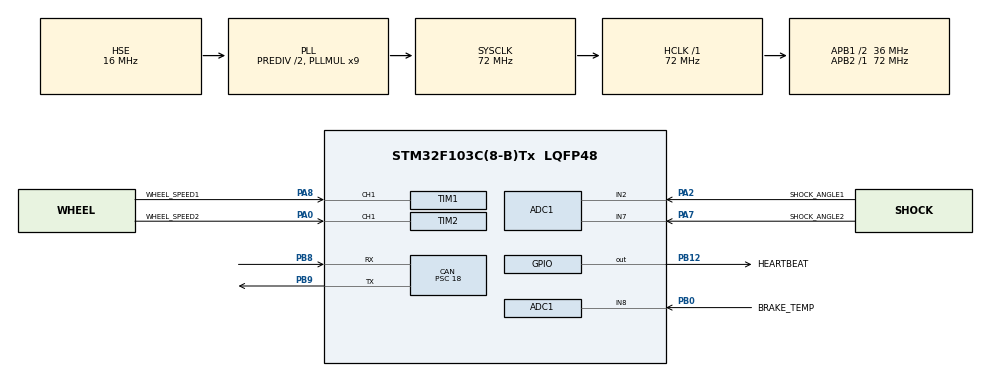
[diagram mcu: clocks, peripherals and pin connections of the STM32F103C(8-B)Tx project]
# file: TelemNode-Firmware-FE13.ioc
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ADC1.Channel-7\#ChannelRegularConversion=ADC_CHANNEL_2
ADC1.ContinuousConvMode=DISABLE
ADC1.EnableRegularConversion=ENABLE
ADC1.NbrOfConversionFlag=1
ADC1.Rank-7\#ChannelRegularConversion=1
ADC1.SamplingTime-7\#ChannelRegularConversion=ADC_SAMPLETIME_41CYCLES_5
ADC1.master=1
CAN.BS1=CAN_BS1_2TQ
CAN.CalculateBaudRate=500000
CAN.CalculateTimeBit=2000
CAN.CalculateTimeQuantum=500.0
CAN.Mode=CAN_MODE_NORMAL
CAN.NART=ENABLE
CAN.Prescaler=18
Dma.ADC1.0.Direction=DMA_PERIPH_TO_MEMORY
Dma.ADC1.0.Instance=DMA1_Channel1
Dma.ADC1.0.MemDataAlignment=DMA_MDATAALIGN_HALFWORD
Dma.ADC1.0.MemInc=DMA_MINC_ENABLE
Dma.ADC1.0.Mode=DMA_CIRCULAR
Dma.ADC1.0.PeriphDataAlignment=DMA_PDATAALIGN_HALFWORD
Dma.ADC1.0.PeriphInc=DMA_PINC_DISABLE
Dma.ADC1.0.Priority=DMA_PRIORITY_LOW
Dma.Request0=ADC1
Mcu.Family=STM32F1
Mcu.Name=STM32F103C(8-B)Tx
Mcu.Package=LQFP48
NVIC.ADC1_2_IRQn=true\:0\:0\:false\:false\:true\:true\:true\:true
NVIC.CAN1_RX1_IRQn=true\:0\:0\:false\:false\:true\:true\:true\:true
NVIC.DMA1_Channel1_IRQn=true\:0\:0\:false\:false\:true\:false\:true\:true
NVIC.PriorityGroup=NVIC_PRIORITYGROUP_4
NVIC.TIM2_IRQn=true\:0\:0\:false\:false\:true\:true\:true\:true
NVIC.USB_HP_CAN1_TX_IRQn=true\:0\:0\:false\:false\:true\:true\:true\:true
NVIC.USB_LP_CAN1_RX0_IRQn=true\:0\:0\:false\:false\:true\:true\:true\:true
PA0-WKUP.GPIO_Label=WHEEL_SPEED2
PA0-WKUP.Signal=S_TIM2_CH1_ETR
PA13.Mode=Serial_Wire
PA13.Signal=SYS_JTMS-SWDIO
PA14.Mode=Serial_Wire
PA14.Signal=SYS_JTCK-SWCLK
PA15.Signal=SYS_JTDI
PA2.GPIO_Label=SHOCK_ANGLE1
PA2.Signal=ADCx_IN2
PA7.GPIO_Label=SHOCK_ANGLE2
PA7.Signal=ADCx_IN7
PA8.GPIO_Label=WHEEL_SPEED1
PA8.Signal=S_TIM1_CH1
PB0.GPIO_Label=BRAKE_TEMP
PB0.Signal=ADCx_IN8
PB12.GPIO_Label=HEARTBEAT
PB12.Signal=GPIO_Output
PB3.Signal=SYS_JTDO-TRACESWO
PB8.GPIO_PuPd=GPIO_PULLUP
PB8.Mode=CAN_Activate
PB8.Signal=CAN_RX
PB9.Mode=CAN_Activate
PB9.Signal=CAN_TX
PD0-OSC_IN.Mode=HSE-External-Oscillator
PD0-OSC_IN.Signal=RCC_OSC_IN
PD1-OSC_OUT.Mode=HSE-External-Oscillator
PD1-OSC_OUT.Signal=RCC_OSC_OUT
ProjectManager.HeapSize=0x200
ProjectManager.StackSize=0x400
ProjectManager.TargetToolchain=STM32CubeIDE
RCC.ADCPresc=RCC_ADCPCLK2_DIV8
RCC.AHBFreq_Value=72000000
RCC.APB1CLKDivider=RCC_HCLK_DIV2
RCC.APB1Freq_Value=36000000
RCC.APB1TimFreq_Value=72000000
RCC.APB2Freq_Value=72000000
RCC.APB2TimFreq_Value=72000000
RCC.HCLKFreq_Value=72000000
RCC.HSEDivPLL=RCC_HSE_PREDIV_DIV2
RCC.HSE_VALUE=16000000
RCC.PLLMUL=RCC_PLL_MUL9
RCC.PLLSourceVirtual=RCC_PLLSOURCE_HSE
RCC.SYSCLKFreq_VALUE=72000000
RCC.SYSCLKSource=RCC_SYSCLKSOURCE_PLLCLK
RCC.USBFreq_Value=72000000
SH.ADCx_IN2.0=ADC1_IN2,IN2
SH.ADCx_IN7.0=ADC1_IN7,IN7
SH.ADCx_IN8.0=ADC1_IN8,IN8
SH.S_TIM1_CH1.0=TIM1_CH1,TriggerSource_TI1FP1
SH.S_TIM2_CH1_ETR.0=TIM2_CH1,TriggerSource_TI1FP1
TIM2.Prescaler=0
TIM3.Period=999
TIM3.Prescaler=71
VP_TIM1_VS_ControllerModeClock.Mode=Clock Mode
VP_TIM2_VS_ControllerModeClock.Mode=Clock Mode
VP_TIM3_VS_ClockSourceINT.Mode=Internal
board=custom

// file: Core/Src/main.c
/* USER CODE BEGIN Header */
/**
  ******************************************************************************
  * @file           : main.c
  * @brief          : Main program body
  ******************************************************************************
  * @attention
  *
  * Copyright (c) 2024 STMicroelectronics.
  * All rights reserved.
  *
  * This software is licensed under terms that can be found in the LICENSE file
  * in the root directory of this software component.
  * If no LICENSE file comes with this software, it is provided AS-IS.
  *
  ******************************************************************************
  */
/* USER CODE END Header */
#include "main.h"

/* USER CODE BEGIN Includes */

#include "telem_node.h"
#include "can_manager.h"
/* USER CODE END Includes */

ADC_HandleTypeDef hadc1;
DMA_HandleTypeDef hdma_adc1;

CAN_HandleTypeDef hcan;

TIM_HandleTypeDef htim1;
TIM_HandleTypeDef htim2;
TIM_HandleTypeDef htim3;

void SystemClock_Config(void);
static void MX_GPIO_Init(void);
static void MX_DMA_Init(void);
static void MX_CAN_Init(void);
static void MX_TIM1_Init(void);
static void MX_ADC1_Init(void);
static void MX_TIM2_Init(void);
static void MX_TIM3_Init(void);

/* USER CODE BEGIN 0 */
//initialize buffer
uint16_t ADC_RES_BUFFER[3];
/* ADC_RES_BUFFER[0] = SHOCK_ANGLE1
 * ADC_RES_BUFFER[1] = SHOCK_ANGLE2
 * ADC_RES_BUFFER[2] = BRAKE_TEMP
 * */

/* USER CODE END 0 */

int main(void)
{

  /* MCU Configuration--------------------------------------------------------*/

  /* Reset of all peripherals, Initializes the Flash interface and the Systick. */
  HAL_Init();

  /* Configure the system clock */
  SystemClock_Config();

  /* Initialize all configured peripherals */
  MX_GPIO_Init();
  MX_DMA_Init();
  MX_CAN_Init();
  MX_TIM1_Init();
  MX_ADC1_Init();
  MX_TIM2_Init();
  MX_TIM3_Init();
  /* USER CODE BEGIN 2 */

  HAL_TIM_Base_Start(&htim1); // TIM1 used for WHEEL_SPEED1
  HAL_TIM_Base_Start(&htim2); // TIM2 used for WHEEL_SPEED2
  HAL_TIM_OC_Start_IT(&htim3, TIM_CHANNEL_1); // TIM2 CH3 used for sensor timing

  TelemNode_Init();

  /* USER CODE END 2 */

  /* Infinite loop */
  /* USER CODE BEGIN WHILE */
  while (1)
  {
	  // update the ADC readings
	  for (int i = 0; i < NUM_ADC_CHANNELS; i++) {

		  if (adc_channels[i].flag == 1) {
			  // prepare new conversion settings
			  ADC_ChannelConfTypeDef sConfig = {0};
			  sConfig.Channel = adc_channels[i].channel_number;
			  sConfig.Rank = 1; // always Rank 1 since Scan Mode is Disabled
			  sConfig.SamplingTime = ADC_SAMPLETIME_55CYCLES_5;
			  HAL_ADC_ConfigChannel(&hadc1, &sConfig);

              //cycle the ADC State Machine to apply settings
              HAL_ADC_Start(&hadc1);

              // block for ~5 microseconds until conversion finishes
              if (HAL_ADC_PollForConversion(&hadc1, 10) == HAL_OK) {
                  adc_channels[i].adc_value = HAL_ADC_GetValue(&hadc1); // save the fresh data
              }

              HAL_ADC_Stop(&hadc1); // turn off state machine until next flag hits
		  }

	  }

	  // send sensor readings over CAN
	  TelemNode_Update();

	  HAL_GPIO_TogglePin(HEARTBEAT_GPIO_Port, HEARTBEAT_Pin);
    /* USER CODE END WHILE */

  }
}

void SystemClock_Config(void)
{
  RCC_OscInitTypeDef RCC_OscInitStruct = {0};
  RCC_ClkInitTypeDef RCC_ClkInitStruct = {0};
  RCC_PeriphCLKInitTypeDef PeriphClkInit = {0};

  /** Initializes the RCC Oscillators according to the specified parameters
  * in the RCC_OscInitTypeDef structure.
  */
  RCC_OscInitStruct.OscillatorType = RCC_OSCILLATORTYPE_HSE;
  RCC_OscInitStruct.HSEState = RCC_HSE_ON;
  RCC_OscInitStruct.HSEPredivValue = RCC_HSE_PREDIV_DIV2;
  RCC_OscInitStruct.HSIState = RCC_HSI_ON;
  RCC_OscInitStruct.PLL.PLLState = RCC_PLL_ON;
  RCC_OscInitStruct.PLL.PLLSource = RCC_PLLSOURCE_HSE;
  RCC_OscInitStruct.PLL.PLLMUL = RCC_PLL_MUL9;
  if (HAL_RCC_OscConfig(&RCC_OscInitStruct) != HAL_OK)
  {
    Error_Handler();
  }

  /** Initializes the CPU, AHB and APB buses clocks
  */
  RCC_ClkInitStruct.ClockType = RCC_CLOCKTYPE_HCLK|RCC_CLOCKTYPE_SYSCLK
                              |RCC_CLOCKTYPE_PCLK1|RCC_CLOCKTYPE_PCLK2;
  RCC_ClkInitStruct.SYSCLKSource = RCC_SYSCLKSOURCE_PLLCLK;
  RCC_ClkInitStruct.AHBCLKDivider = RCC_SYSCLK_DIV1;
  RCC_ClkInitStruct.APB1CLKDivider = RCC_HCLK_DIV2;
  RCC_ClkInitStruct.APB2CLKDivider = RCC_HCLK_DIV1;

  if (HAL_RCC_ClockConfig(&RCC_ClkInitStruct, FLASH_LATENCY_2) != HAL_OK)
  {
    Error_Handler();
  }
  PeriphClkInit.PeriphClockSelection = RCC_PERIPHCLK_ADC;
  PeriphClkInit.AdcClockSelection = RCC_ADCPCLK2_DIV8;
  if (HAL_RCCEx_PeriphCLKConfig(&PeriphClkInit) != HAL_OK)
  {
    Error_Handler();
  }
}

static void MX_ADC1_Init(void)
{

  ADC_ChannelConfTypeDef sConfig = {0};

  /** Common config
  */
  hadc1.Instance = ADC1;
  hadc1.Init.ScanConvMode = ADC_SCAN_ENABLE;
  hadc1.Init.ContinuousConvMode = ENABLE;
  hadc1.Init.DiscontinuousConvMode = DISABLE;
  hadc1.Init.ExternalTrigConv = ADC_SOFTWARE_START;
  hadc1.Init.DataAlign = ADC_DATAALIGN_RIGHT;
  hadc1.Init.NbrOfConversion = 3;
  if (HAL_ADC_Init(&hadc1) != HAL_OK)
  {
    Error_Handler();
  }

  /** Configure Regular Channel
  */
  sConfig.Channel = ADC_CHANNEL_2;
  sConfig.Rank = ADC_REGULAR_RANK_1;
  sConfig.SamplingTime = ADC_SAMPLETIME_28CYCLES_5;
  if (HAL_ADC_ConfigChannel(&hadc1, &sConfig) != HAL_OK)
  {
    Error_Handler();
  }

  /** Configure Regular Channel
  */
  sConfig.Channel = ADC_CHANNEL_7;
  sConfig.Rank = ADC_REGULAR_RANK_2;
  if (HAL_ADC_ConfigChannel(&hadc1, &sConfig) != HAL_OK)
  {
    Error_Handler();
  }

  /** Configure Regular Channel
  */
  sConfig.Channel = ADC_CHANNEL_8;
  sConfig.Rank = ADC_REGULAR_RANK_3;
  if (HAL_ADC_ConfigChannel(&hadc1, &sConfig) != HAL_OK)
  {
    Error_Handler();
  }

}

static void MX_CAN_Init(void)
{

  hcan.Instance = CAN1;
  hcan.Init.Prescaler = 18;
  hcan.Init.Mode = CAN_MODE_NORMAL;
  hcan.Init.SyncJumpWidth = CAN_SJW_1TQ;
  hcan.Init.TimeSeg1 = CAN_BS1_2TQ;
  hcan.Init.TimeSeg2 = CAN_BS2_1TQ;
  hcan.Init.TimeTriggeredMode = DISABLE;
  hcan.Init.AutoBusOff = DISABLE;
  hcan.Init.AutoWakeUp = DISABLE;
  hcan.Init.AutoRetransmission = ENABLE;
  hcan.Init.ReceiveFifoLocked = DISABLE;
  hcan.Init.TransmitFifoPriority = DISABLE;
  if (HAL_CAN_Init(&hcan) != HAL_OK)
  {
    Error_Handler();
  }

}

static void MX_TIM1_Init(void)
{

  TIM_SlaveConfigTypeDef sSlaveConfig = {0};
  TIM_MasterConfigTypeDef sMasterConfig = {0};

  htim1.Instance = TIM1;
  htim1.Init.Prescaler = 0;
  htim1.Init.CounterMode = TIM_COUNTERMODE_UP;
  htim1.Init.Period = 65535;
  htim1.Init.ClockDivision = TIM_CLOCKDIVISION_DIV1;
  htim1.Init.RepetitionCounter = 0;
  htim1.Init.AutoReloadPreload = TIM_AUTORELOAD_PRELOAD_DISABLE;
  if (HAL_TIM_Base_Init(&htim1) != HAL_OK)
  {
    Error_Handler();
  }
  sSlaveConfig.SlaveMode = TIM_SLAVEMODE_EXTERNAL1;
  sSlaveConfig.InputTrigger = TIM_TS_TI1FP1;
  sSlaveConfig.TriggerPolarity = TIM_TRIGGERPOLARITY_RISING;
  sSlaveConfig.TriggerFilter = 0;
  if (HAL_TIM_SlaveConfigSynchro(&htim1, &sSlaveConfig) != HAL_OK)
  {
    Error_Handler();
  }
  sMasterConfig.MasterOutputTrigger = TIM_TRGO_RESET;
  sMasterConfig.MasterSlaveMode = TIM_MASTERSLAVEMODE_DISABLE;
  if (HAL_TIMEx_MasterConfigSynchronization(&htim1, &sMasterConfig) != HAL_OK)
  {
    Error_Handler();
  }

}

static void MX_TIM2_Init(void)
{

  TIM_SlaveConfigTypeDef sSlaveConfig = {0};
  TIM_MasterConfigTypeDef sMasterConfig = {0};

  htim2.Instance = TIM2;
  htim2.Init.Prescaler = 0;
  htim2.Init.CounterMode = TIM_COUNTERMODE_UP;
  htim2.Init.Period = 65535;
  htim2.Init.ClockDivision = TIM_CLOCKDIVISION_DIV1;
  htim2.Init.AutoReloadPreload = TIM_AUTORELOAD_PRELOAD_DISABLE;
  if (HAL_TIM_Base_Init(&htim2) != HAL_OK)
  {
    Error_Handler();
  }
  sSlaveConfig.SlaveMode = TIM_SLAVEMODE_EXTERNAL1;
  sSlaveConfig.InputTrigger = TIM_TS_TI1FP1;
  sSlaveConfig.TriggerPolarity = TIM_TRIGGERPOLARITY_RISING;
  sSlaveConfig.TriggerFilter = 0;
  if (HAL_TIM_SlaveConfigSynchro(&htim2, &sSlaveConfig) != HAL_OK)
  {
    Error_Handler();
  }
  sMasterConfig.MasterOutputTrigger = TIM_TRGO_RESET;
  sMasterConfig.MasterSlaveMode = TIM_MASTERSLAVEMODE_DISABLE;
  if (HAL_TIMEx_MasterConfigSynchronization(&htim2, &sMasterConfig) != HAL_OK)
  {
    Error_Handler();
  }

}

static void MX_TIM3_Init(void)
{

  TIM_ClockConfigTypeDef sClockSourceConfig = {0};
  TIM_MasterConfigTypeDef sMasterConfig = {0};
  TIM_OC_InitTypeDef sConfigOC = {0};

  htim3.Instance = TIM3;
  htim3.Init.Prescaler = 7199;
  htim3.Init.CounterMode = TIM_COUNTERMODE_UP;
  htim3.Init.Period = 65535;
  htim3.Init.ClockDivision = TIM_CLOCKDIVISION_DIV1;
  htim3.Init.AutoReloadPreload = TIM_AUTORELOAD_PRELOAD_DISABLE;
  if (HAL_TIM_Base_Init(&htim3) != HAL_OK)
  {
    Error_Handler();
  }
  sClockSourceConfig.ClockSource = TIM_CLOCKSOURCE_INTERNAL;
  if (HAL_TIM_ConfigClockSource(&htim3, &sClockSourceConfig) != HAL_OK)
  {
    Error_Handler();
  }
  if (HAL_TIM_OC_Init(&htim3) != HAL_OK)
  {
    Error_Handler();
  }
  sMasterConfig.MasterOutputTrigger = TIM_TRGO_RESET;
  sMasterConfig.MasterSlaveMode = TIM_MASTERSLAVEMODE_DISABLE;
  if (HAL_TIMEx_MasterConfigSynchronization(&htim3, &sMasterConfig) != HAL_OK)
  {
    Error_Handler();
  }
  sConfigOC.OCMode = TIM_OCMODE_TIMING;
  sConfigOC.Pulse = 2000;
  sConfigOC.OCPolarity = TIM_OCPOLARITY_HIGH;
  sConfigOC.OCFastMode = TIM_OCFAST_DISABLE;
  if (HAL_TIM_OC_ConfigChannel(&htim3, &sConfigOC, TIM_CHANNEL_1) != HAL_OK)
  {
    Error_Handler();
  }
  if (HAL_TIM_OC_ConfigChannel(&htim3, &sConfigOC, TIM_CHANNEL_2) != HAL_OK)
  {
    Error_Handler();
  }

}

static void MX_DMA_Init(void)
{

  /* DMA controller clock enable */
  __HAL_RCC_DMA1_CLK_ENABLE();

  /* DMA interrupt init */
  /* DMA1_Channel1_IRQn interrupt configuration */
  HAL_NVIC_SetPriority(DMA1_Channel1_IRQn, 0, 0);
  HAL_NVIC_EnableIRQ(DMA1_Channel1_IRQn);

}

static void MX_GPIO_Init(void)
{
  GPIO_InitTypeDef GPIO_InitStruct = {0};

  /* GPIO Ports Clock Enable */
  __HAL_RCC_GPIOD_CLK_ENABLE();
  __HAL_RCC_GPIOA_CLK_ENABLE();
  __HAL_RCC_GPIOB_CLK_ENABLE();

  /*Configure GPIO pin Output Level */
  HAL_GPIO_WritePin(HEARTBEAT_GPIO_Port, HEARTBEAT_Pin, GPIO_PIN_RESET);

  /*Configure GPIO pin : HEARTBEAT_Pin */
  GPIO_InitStruct.Pin = HEARTBEAT_Pin;
  GPIO_InitStruct.Mode = GPIO_MODE_OUTPUT_PP;
  GPIO_InitStruct.Pull = GPIO_NOPULL;
  GPIO_InitStruct.Speed = GPIO_SPEED_FREQ_LOW;
  HAL_GPIO_Init(HEARTBEAT_GPIO_Port, &GPIO_InitStruct);

}

void Error_Handler(void)
{
  __disable_irq();
  while (1)
  {
  }
}
